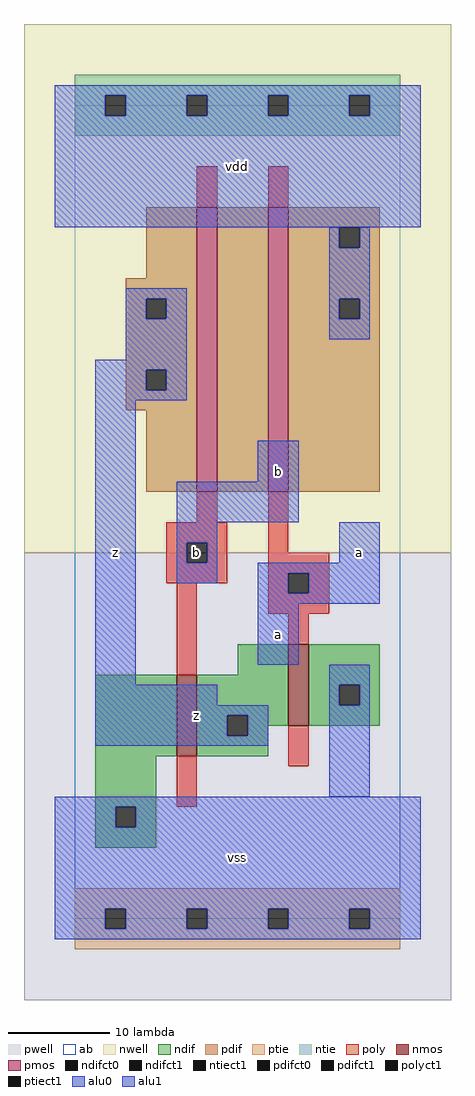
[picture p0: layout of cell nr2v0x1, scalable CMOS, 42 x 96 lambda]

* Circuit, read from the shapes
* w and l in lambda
.subckt nr2v0x1 a b vdd vss z
M1 z b vss vss nfet w=8 l=2
M2 vss a z vss nfet w=8 l=2
M3 n1 b z vdd pfet w=28 l=2
M4 vdd a n1 vdd pfet w=28 l=2
.ends

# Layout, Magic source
magic
tech scmos
<< ab >>
rect 0 0 32 80
<< nwell >>
rect -5 36 37 88
<< pwell >>
rect -5 -8 37 36
<< poly >>
rect 12 70 14 74
rect 19 70 21 74
rect 12 39 14 42
rect 9 37 15 39
rect 9 35 11 37
rect 13 35 15 37
rect 9 33 15 35
rect 19 36 21 42
rect 19 34 25 36
rect 10 24 12 33
rect 19 32 21 34
rect 23 32 25 34
rect 19 30 25 32
rect 21 27 23 30
rect 10 11 12 16
rect 21 15 23 19
<< ndif >>
rect 16 24 21 27
rect 2 16 10 24
rect 12 20 21 24
rect 12 18 15 20
rect 17 19 21 20
rect 23 23 30 27
rect 23 21 26 23
rect 28 21 30 23
rect 23 19 30 21
rect 17 18 19 19
rect 12 16 19 18
rect 2 11 8 16
rect 2 9 4 11
rect 6 9 8 11
rect 2 7 8 9
<< pdif >>
rect 7 63 12 70
rect 5 61 12 63
rect 5 59 7 61
rect 9 59 12 61
rect 5 54 12 59
rect 5 52 7 54
rect 9 52 12 54
rect 5 50 12 52
rect 7 42 12 50
rect 14 42 19 70
rect 21 68 30 70
rect 21 66 26 68
rect 28 66 30 68
rect 21 61 30 66
rect 21 59 26 61
rect 28 59 30 61
rect 21 42 30 59
<< alu1 >>
rect -2 81 34 82
rect -2 79 3 81
rect 5 79 11 81
rect 13 79 19 81
rect 21 79 27 81
rect 29 79 34 81
rect -2 68 34 79
rect 5 61 11 62
rect 5 59 7 61
rect 9 59 11 61
rect 5 55 11 59
rect 2 54 11 55
rect 2 52 7 54
rect 9 52 11 54
rect 2 51 11 52
rect 2 23 6 51
rect 18 43 22 47
rect 10 39 22 43
rect 10 37 14 39
rect 10 35 11 37
rect 13 35 14 37
rect 26 35 30 39
rect 10 33 14 35
rect 18 34 30 35
rect 18 32 21 34
rect 23 32 30 34
rect 18 31 30 32
rect 18 25 22 31
rect 2 21 14 23
rect 2 20 19 21
rect 2 18 15 20
rect 17 18 19 20
rect 2 17 19 18
rect -2 11 34 12
rect -2 9 4 11
rect 6 9 34 11
rect -2 1 34 9
rect -2 -1 3 1
rect 5 -1 11 1
rect 13 -1 19 1
rect 21 -1 27 1
rect 29 -1 34 1
rect -2 -2 34 -1
<< ptie >>
rect 0 1 32 3
rect 0 -1 3 1
rect 5 -1 11 1
rect 13 -1 19 1
rect 21 -1 27 1
rect 29 -1 32 1
rect 0 -3 32 -1
<< ntie >>
rect 0 81 32 83
rect 0 79 3 81
rect 5 79 11 81
rect 13 79 19 81
rect 21 79 27 81
rect 29 79 32 81
rect 0 77 32 79
<< nmos >>
rect 10 16 12 24
rect 21 19 23 27
<< pmos >>
rect 12 42 14 70
rect 19 42 21 70
<< polyct1 >>
rect 11 35 13 37
rect 21 32 23 34
<< ndifct0 >>
rect 26 21 28 23
<< ndifct1 >>
rect 15 18 17 20
rect 4 9 6 11
<< ntiect1 >>
rect 3 79 5 81
rect 11 79 13 81
rect 19 79 21 81
rect 27 79 29 81
<< ptiect1 >>
rect 3 -1 5 1
rect 11 -1 13 1
rect 19 -1 21 1
rect 27 -1 29 1
<< pdifct0 >>
rect 26 66 28 68
rect 26 59 28 61
<< pdifct1 >>
rect 7 59 9 61
rect 7 52 9 54
<< alu0 >>
rect 25 66 26 68
rect 28 66 29 68
rect 25 61 29 66
rect 25 59 26 61
rect 28 59 29 61
rect 25 57 29 59
rect 25 23 29 25
rect 25 21 26 23
rect 28 21 29 23
rect 25 12 29 21
<< labels >>
rlabel alu1 4 36 4 36 6 z
rlabel alu1 12 20 12 20 6 z
rlabel polyct1 12 36 12 36 6 b
rlabel alu1 16 6 16 6 6 vss
rlabel alu1 20 28 20 28 6 a
rlabel alu1 20 44 20 44 6 b
rlabel alu1 16 74 16 74 6 vdd
rlabel alu1 28 36 28 36 6 a
<< end >>
